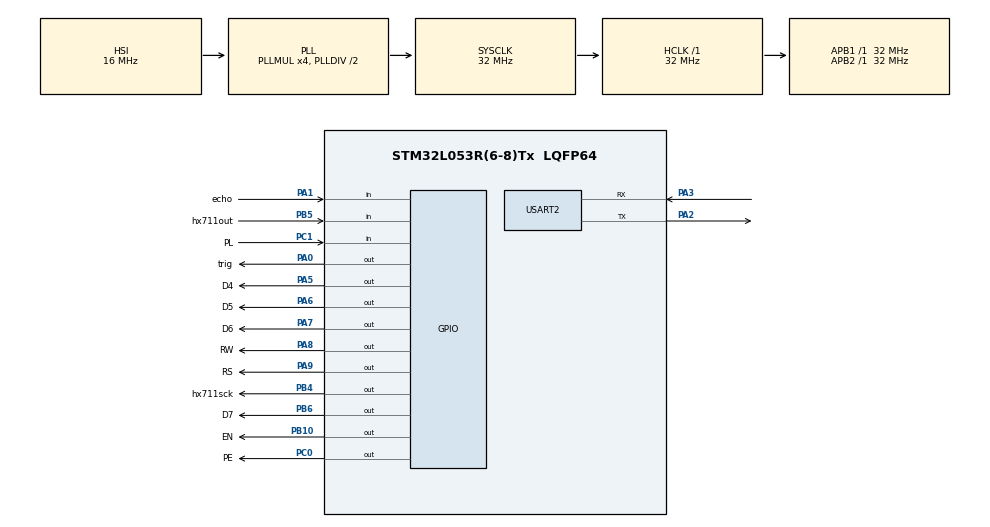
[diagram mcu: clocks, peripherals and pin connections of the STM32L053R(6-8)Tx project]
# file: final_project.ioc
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Mcu.Family=STM32L0
Mcu.Name=STM32L053R(6-8)Tx
Mcu.Package=LQFP64
NVIC.USART2_IRQn=true\:1\:0\:true\:false\:true\:true\:true
PA0.GPIO_Label=trig
PA0.Signal=GPIO_Output
PA1.GPIO_Label=echo
PA1.Signal=GPIO_Input
PA2.Mode=Asynchronous
PA2.Signal=USART2_TX
PA3.Mode=Asynchronous
PA3.Signal=USART2_RX
PA5.GPIO_Label=D4
PA5.Signal=GPIO_Output
PA6.GPIO_Label=D5
PA6.Signal=GPIO_Output
PA7.GPIO_Label=D6
PA7.Signal=GPIO_Output
PA8.GPIO_Label=RW
PA8.Signal=GPIO_Output
PA9.GPIO_Label=RS
PA9.Signal=GPIO_Output
PB10.GPIO_Label=EN
PB10.Signal=GPIO_Output
PB4.GPIO_Label=hx711sck
PB4.Signal=GPIO_Output
PB5.GPIO_Label=hx711out
PB5.Signal=GPIO_Input
PB6.GPIO_Label=D7
PB6.Signal=GPIO_Output
PC0.GPIO_Label=PE
PC0.Signal=GPIO_Output
PC1.GPIO_Label=PL
PC1.Signal=GPIO_Input
ProjectManager.HeapSize=0x200
ProjectManager.StackSize=0x400
ProjectManager.TargetToolchain=MDK-ARM V5
RCC.AHBFreq_Value=32000000
RCC.APB1Freq_Value=32000000
RCC.APB1TimFreq_Value=32000000
RCC.APB2Freq_Value=32000000
RCC.APB2TimFreq_Value=32000000
RCC.HCLKFreq_Value=32000000
RCC.HSE_VALUE=8000000
RCC.HSI16_VALUE=16000000
RCC.HSI48_VALUE=48000000
RCC.HSI_VALUE=16000000
RCC.LSE_VALUE=32768
RCC.MSI_VALUE=2097000
RCC.PLLMUL=RCC_PLLMUL_4
RCC.SYSCLKFreq_VALUE=32000000
RCC.SYSCLKSource=RCC_SYSCLKSOURCE_PLLCLK
RCC.VCOOutputFreq_Value=64000000
TIM2.Prescaler=84-1
USART2.VirtualMode-Asynchronous=VM_ASYNC
VP_TIM2_VS_ClockSourceINT.Mode=Internal
board=custom

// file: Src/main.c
/* USER CODE BEGIN Header */
/**
  ******************************************************************************
  * @file           : main.c
  * @brief          : Main program body
  ******************************************************************************
  * @attention
  *
  * <h2><center>&copy; Copyright (c) 2019 STMicroelectronics.
  * All rights reserved.</center></h2>
  *
  * This software component is licensed by ST under BSD 3-Clause license,
  * the "License"; You may not use this file except in compliance with the
  * License. You may obtain a copy of the License at:
  *                        opensource.org/licenses/BSD-3-Clause
  *
  ******************************************************************************
  */
/* USER CODE END Header */

#include "main.h"

/* USER CODE BEGIN Includes */
#include "stdbool.h"
#include "string.h"
#include "stdio.h"
#include "lcd_1602.h"
#include "hx711.h.h"
/* USER CODE END Includes */

/* USER CODE BEGIN PTD */
#define smalltimer TIM2
/* USER CODE END PTD */

TIM_HandleTypeDef htim2;

UART_HandleTypeDef huart2;

/* USER CODE BEGIN PV */
int i;//for loop

const float speedofsound=0.0343/2;
float distance;

bool GPIO_flag= false;

char uartbuf[50];
uint8_t usart_buffer[20] = "LinXiuWei\r\n";
int average_weigh;
volatile int weigh =0;
volatile int myweigh =0;
/* USER CODE END PV */

void SystemClock_Config(void);
static void MX_GPIO_Init(void);
static void MX_USART2_UART_Init(void);
static void MX_TIM2_Init(void);
/* USER CODE BEGIN PFP */
void smalldelay(unsigned int);
/* USER CODE END PFP */

int main(void)
{
  /* USER CODE BEGIN 1 */
	unsigned int num_t;
	HX711 hx11;
  hx11.gpioSck = hx711sck_GPIO_Port;
  hx11.gpioData = hx711out_GPIO_Port;
  hx11.pinSck = hx711sck_Pin;
  hx11.pinData = hx711out_Pin;
  hx11.offset = 0;
  hx11.gain = 64;
	char weighinformation[20];

  /* USER CODE END 1 */

  /* MCU Configuration--------------------------------------------------------*/

  /* Reset of all peripherals, Initializes the Flash interface and the Systick. */
  HAL_Init();

  /* Configure the system clock */
  SystemClock_Config();

  /* Initialize all configured peripherals */
  MX_GPIO_Init();
  MX_USART2_UART_Init();
  MX_TIM2_Init();
  /* USER CODE BEGIN 2 */
 //Transmit without interrupt
 HAL_UART_Transmit(&huart2 , &usart_buffer[0] , strlen(&usart_buffer[0]) , 100);
 //Receive with interrupt
 HAL_UART_Receive_IT(&huart2 , &usart_buffer[0] , 1);
 ///////////////
 lcd_init();
 HX711_Init(hx11);
  /* USER CODE END 2 */

  /* Infinite loop */
  while (1)
  {

    /* USER CODE BEGIN 3 */
		//HAL_Delay(1000);
		while(HAL_GPIO_ReadPin(PE_GPIO_Port,PE_Pin)!=GPIO_PIN_SET){
		lcd_clr();
		/////////////////hx711
		average_weigh=0;
		for(i=0;i<10;i++){
		weigh = HX711_Value(hx11);
		weigh =((weigh-8470500)/1500);
		average_weigh=average_weigh+weigh;
		}
		average_weigh=average_weigh/10;
		myweigh=average_weigh;
	  //weigh = HX711_AverageValue(hx11, times);

		sprintf(weighinformation,"Weigh is %d\r\n",myweigh);
	  HAL_UART_Transmit(&huart2 ,(unsigned char*)weighinformation, strlen(weighinformation) , 100);
		HAL_Delay(1000);
		}

		///////////////lcd
		lcd_clr();
		lcd_gotoxy(0,0);
		lcd_puts("Let start!!!");
		HAL_Delay(1000);

		while(HAL_GPIO_ReadPin(PL_GPIO_Port,PL_Pin)!=GPIO_PIN_SET){
		HAL_GPIO_WritePin(PE_GPIO_Port, PE_Pin, GPIO_PIN_RESET);
		HAL_GPIO_WritePin(trig_GPIO_Port, trig_Pin, GPIO_PIN_RESET);
		smalldelay(3);
		HAL_GPIO_WritePin(trig_GPIO_Port, trig_Pin, GPIO_PIN_SET);
		smalldelay(10);
		HAL_GPIO_WritePin(trig_GPIO_Port, trig_Pin, GPIO_PIN_RESET);
		/////////////////measure echo pulse width
		num_t=0;
		while(HAL_GPIO_ReadPin(echo_GPIO_Port,echo_Pin)!=GPIO_PIN_SET);
		while(HAL_GPIO_ReadPin(echo_GPIO_Port,echo_Pin)==GPIO_PIN_SET)
		{
			num_t++;
			smalldelay(2);
		}
		//////////////////estimate distance
		distance=(num_t+0.0f)*7.3*speedofsound;
		////////////////////////for serial port
		sprintf(uartbuf,"distance is %.1f\r\n",distance);
		HAL_UART_Transmit(&huart2 ,(unsigned char*)uartbuf, strlen(uartbuf) , 100);

		/////////////////hx711
		average_weigh=0;
		for(i=0;i<10;i++){
		weigh = HX711_Value(hx11);
		weigh =((weigh-8470500)/1500);
		average_weigh=average_weigh+weigh;
		}
		average_weigh=average_weigh/10;

		sprintf(weighinformation,"Weigh is %d\r\n",myweigh);
	  HAL_UART_Transmit(&huart2 ,(unsigned char*)weighinformation, strlen(weighinformation) , 100);

		///////////////////////Pudding control
			if(distance<15 || (weigh-myweigh)>5 || (weigh-myweigh)<-5){
				if((average_weigh-myweigh)>1 || (average_weigh-myweigh)<-1){
					lcd_clr();
					lcd_gotoxy(5,0);
					lcd_puts("---    ---");
					lcd_gotoxy(6,1);
					lcd_puts("0      0");
					lcd_gotoxy(8,2);
					lcd_puts("0000");
					lcd_gotoxy(8,3);
					lcd_puts("0000");
					HAL_GPIO_WritePin(PE_GPIO_Port, PE_Pin, GPIO_PIN_SET);
				}
				else{
					lcd_clr();
					lcd_gotoxy(5,0);
					lcd_puts("---    ---");
					lcd_gotoxy(6,1);
					lcd_puts(">      <");
					lcd_gotoxy(8,2);
					lcd_puts("0000");
					lcd_gotoxy(8,3);
					lcd_puts("0000");
				}
			}
			else{
				lcd_clr();
				lcd_gotoxy(6,1);
				lcd_puts(">      <");
				lcd_gotoxy(9,3);
				lcd_puts("VV");
			}
		HAL_Delay(1000);
		HAL_GPIO_WritePin(PE_GPIO_Port, PE_Pin, GPIO_PIN_RESET);}
		lcd_clr();
		lcd_gotoxy(0,0);
		lcd_puts("It's over!!!");
		HAL_Delay(1000);
		////////////////////////////////////////////////////////////////////helpful code
		/*
		while(HAL_GPIO_ReadPin(PE_GPIO_Port,PE_Pin)!=GPIO_PIN_SET)lcd_clr();
		while(HAL_GPIO_ReadPin(PL_GPIO_Port,PL_Pin)!=GPIO_PIN_SET){
		HAL_GPIO_WritePin(trig_GPIO_Port, trig_Pin, GPIO_PIN_RESET);
		smalldelay(3);
		HAL_GPIO_WritePin(trig_GPIO_Port, trig_Pin, GPIO_PIN_SET);
		smalldelay(10);
		HAL_GPIO_WritePin(trig_GPIO_Port, trig_Pin, GPIO_PIN_RESET);
		/////////////////measure echo pulse width
		num_t=0;
		while(HAL_GPIO_ReadPin(echo_GPIO_Port,echo_Pin)!=GPIO_PIN_SET);
		while(HAL_GPIO_ReadPin(echo_GPIO_Port,echo_Pin)==GPIO_PIN_SET)
		{
			num_t++;
			smalldelay(2);
		}
		//////////////////estimate distance
		distance=(num_t+0.0f)*7.3*speedofsound;
		////////////////////////for serial port
		sprintf(uartbuf,"distance is %.1f\r\n",distance);
		HAL_UART_Transmit(&huart2 ,(unsigned char*)uartbuf, strlen(uartbuf) , 100);
		HAL_Delay(1000);}

		///////////////////////LCD control
			if(distance<10){
				lcd_clr();
				lcd_gotoxy(5,0);
				lcd_puts("---    ---");
				lcd_gotoxy(6,1);
				lcd_puts("0      0");
				lcd_gotoxy(8,2);
				lcd_puts("0000");
				lcd_gotoxy(8,3);
				lcd_puts("0000");
			}
			else{
				lcd_clr();
				lcd_gotoxy(6,1);
				lcd_puts(">      <");
				lcd_gotoxy(9,3);
				lcd_puts("VV");
			}
		HAL_Delay(1000);	}

		///////////////SPEAKER
		HAL_GPIO_WritePin(PE_GPIO_Port, PE_Pin, GPIO_PIN_RESET);
		while(HAL_GPIO_ReadPin(REC_GPIO_Port,REC_Pin)!=GPIO_PIN_SET);
		while(HAL_GPIO_ReadPin(REC_GPIO_Port,REC_Pin)==GPIO_PIN_SET);
		HAL_GPIO_WritePin(PE_GPIO_Port, PE_Pin, GPIO_PIN_SET);
		HAL_Delay(2000);
		HAL_GPIO_WritePin(PE_GPIO_Port, PE_Pin, GPIO_PIN_RESET);

		/////////////////hx711
		while(HAL_GPIO_ReadPin(PE_GPIO_Port,PE_Pin)!=GPIO_PIN_SET)lcd_clr();
		while(HAL_GPIO_ReadPin(PL_GPIO_Port,PL_Pin)!=GPIO_PIN_SET){
		lcd_clr();
		lcd_gotoxy(0,0);
		lcd_puts("Let start!!!");
		average_weigh=0;
		for(i=0;i<10;i++){
		weigh = HX711_Value(hx11);
		weigh =((weigh-8470500)/1000);
		average_weigh=average_weigh+weigh;
		}
		average_weigh=average_weigh/10;
	  //weigh = HX711_AverageValue(hx11,5);

		sprintf(weighinformation,"Weigh is %d\r\n",average_weigh);
	  HAL_UART_Transmit(&huart2 ,(unsigned char*)weighinformation, strlen(weighinformation) , 100);
		HAL_Delay(1000);}*/
		}
  /* USER CODE END 3 */
}

void SystemClock_Config(void)
{
  RCC_OscInitTypeDef RCC_OscInitStruct = {0};
  RCC_ClkInitTypeDef RCC_ClkInitStruct = {0};
  RCC_PeriphCLKInitTypeDef PeriphClkInit = {0};

  /** Configure the main internal regulator output voltage
  */
  __HAL_PWR_VOLTAGESCALING_CONFIG(PWR_REGULATOR_VOLTAGE_SCALE1);
  /** Initializes the CPU, AHB and APB busses clocks
  */
  RCC_OscInitStruct.OscillatorType = RCC_OSCILLATORTYPE_HSI;
  RCC_OscInitStruct.HSIState = RCC_HSI_ON;
  RCC_OscInitStruct.HSICalibrationValue = RCC_HSICALIBRATION_DEFAULT;
  RCC_OscInitStruct.PLL.PLLState = RCC_PLL_ON;
  RCC_OscInitStruct.PLL.PLLSource = RCC_PLLSOURCE_HSI;
  RCC_OscInitStruct.PLL.PLLMUL = RCC_PLLMUL_4;
  RCC_OscInitStruct.PLL.PLLDIV = RCC_PLLDIV_2;
  if (HAL_RCC_OscConfig(&RCC_OscInitStruct) != HAL_OK)
  {
    Error_Handler();
  }
  /** Initializes the CPU, AHB and APB busses clocks
  */
  RCC_ClkInitStruct.ClockType = RCC_CLOCKTYPE_HCLK|RCC_CLOCKTYPE_SYSCLK
                              |RCC_CLOCKTYPE_PCLK1|RCC_CLOCKTYPE_PCLK2;
  RCC_ClkInitStruct.SYSCLKSource = RCC_SYSCLKSOURCE_PLLCLK;
  RCC_ClkInitStruct.AHBCLKDivider = RCC_SYSCLK_DIV1;
  RCC_ClkInitStruct.APB1CLKDivider = RCC_HCLK_DIV1;
  RCC_ClkInitStruct.APB2CLKDivider = RCC_HCLK_DIV1;

  if (HAL_RCC_ClockConfig(&RCC_ClkInitStruct, FLASH_LATENCY_1) != HAL_OK)
  {
    Error_Handler();
  }
  PeriphClkInit.PeriphClockSelection = RCC_PERIPHCLK_USART2;
  PeriphClkInit.Usart2ClockSelection = RCC_USART2CLKSOURCE_PCLK1;
  if (HAL_RCCEx_PeriphCLKConfig(&PeriphClkInit) != HAL_OK)
  {
    Error_Handler();
  }
}

static void MX_TIM2_Init(void)
{

  TIM_ClockConfigTypeDef sClockSourceConfig = {0};
  TIM_MasterConfigTypeDef sMasterConfig = {0};

  htim2.Instance = TIM2;
  htim2.Init.Prescaler = 84-1;
  htim2.Init.CounterMode = TIM_COUNTERMODE_UP;
  htim2.Init.Period = 0;
  htim2.Init.ClockDivision = TIM_CLOCKDIVISION_DIV1;
  htim2.Init.AutoReloadPreload = TIM_AUTORELOAD_PRELOAD_DISABLE;
  if (HAL_TIM_Base_Init(&htim2) != HAL_OK)
  {
    Error_Handler();
  }
  sClockSourceConfig.ClockSource = TIM_CLOCKSOURCE_INTERNAL;
  if (HAL_TIM_ConfigClockSource(&htim2, &sClockSourceConfig) != HAL_OK)
  {
    Error_Handler();
  }
  sMasterConfig.MasterOutputTrigger = TIM_TRGO_RESET;
  sMasterConfig.MasterSlaveMode = TIM_MASTERSLAVEMODE_DISABLE;
  if (HAL_TIMEx_MasterConfigSynchronization(&htim2, &sMasterConfig) != HAL_OK)
  {
    Error_Handler();
  }

}

static void MX_USART2_UART_Init(void)
{

  huart2.Instance = USART2;
  huart2.Init.BaudRate = 115200;
  huart2.Init.WordLength = UART_WORDLENGTH_8B;
  huart2.Init.StopBits = UART_STOPBITS_1;
  huart2.Init.Parity = UART_PARITY_NONE;
  huart2.Init.Mode = UART_MODE_TX_RX;
  huart2.Init.HwFlowCtl = UART_HWCONTROL_NONE;
  huart2.Init.OverSampling = UART_OVERSAMPLING_16;
  huart2.Init.OneBitSampling = UART_ONE_BIT_SAMPLE_DISABLE;
  huart2.AdvancedInit.AdvFeatureInit = UART_ADVFEATURE_NO_INIT;
  if (HAL_UART_Init(&huart2) != HAL_OK)
  {
    Error_Handler();
  }

}

static void MX_GPIO_Init(void)
{
  GPIO_InitTypeDef GPIO_InitStruct = {0};

  /* GPIO Ports Clock Enable */
  __HAL_RCC_GPIOC_CLK_ENABLE();
  __HAL_RCC_GPIOA_CLK_ENABLE();
  __HAL_RCC_GPIOB_CLK_ENABLE();

  /*Configure GPIO pin Output Level */
  HAL_GPIO_WritePin(PE_GPIO_Port, PE_Pin, GPIO_PIN_RESET);

  /*Configure GPIO pin Output Level */
  HAL_GPIO_WritePin(GPIOA, trig_Pin|D4_Pin|D5_Pin|D6_Pin
                          |RW_Pin|RS_Pin, GPIO_PIN_RESET);

  /*Configure GPIO pin Output Level */
  HAL_GPIO_WritePin(GPIOB, EN_Pin|hx711sck_Pin|D7_Pin, GPIO_PIN_RESET);

  /*Configure GPIO pin : PE_Pin */
  GPIO_InitStruct.Pin = PE_Pin;
  GPIO_InitStruct.Mode = GPIO_MODE_OUTPUT_PP;
  GPIO_InitStruct.Pull = GPIO_NOPULL;
  GPIO_InitStruct.Speed = GPIO_SPEED_FREQ_LOW;
  HAL_GPIO_Init(PE_GPIO_Port, &GPIO_InitStruct);

  /*Configure GPIO pin : PL_Pin */
  GPIO_InitStruct.Pin = PL_Pin;
  GPIO_InitStruct.Mode = GPIO_MODE_INPUT;
  GPIO_InitStruct.Pull = GPIO_NOPULL;
  HAL_GPIO_Init(PL_GPIO_Port, &GPIO_InitStruct);

  /*Configure GPIO pins : trig_Pin D4_Pin D5_Pin D6_Pin
                           RW_Pin RS_Pin */
  GPIO_InitStruct.Pin = trig_Pin|D4_Pin|D5_Pin|D6_Pin
                          |RW_Pin|RS_Pin;
  GPIO_InitStruct.Mode = GPIO_MODE_OUTPUT_PP;
  GPIO_InitStruct.Pull = GPIO_NOPULL;
  GPIO_InitStruct.Speed = GPIO_SPEED_FREQ_LOW;
  HAL_GPIO_Init(GPIOA, &GPIO_InitStruct);

  /*Configure GPIO pin : echo_Pin */
  GPIO_InitStruct.Pin = echo_Pin;
  GPIO_InitStruct.Mode = GPIO_MODE_INPUT;
  GPIO_InitStruct.Pull = GPIO_NOPULL;
  HAL_GPIO_Init(echo_GPIO_Port, &GPIO_InitStruct);

  /*Configure GPIO pins : EN_Pin hx711sck_Pin D7_Pin */
  GPIO_InitStruct.Pin = EN_Pin|hx711sck_Pin|D7_Pin;
  GPIO_InitStruct.Mode = GPIO_MODE_OUTPUT_PP;
  GPIO_InitStruct.Pull = GPIO_NOPULL;
  GPIO_InitStruct.Speed = GPIO_SPEED_FREQ_LOW;
  HAL_GPIO_Init(GPIOB, &GPIO_InitStruct);

  /*Configure GPIO pin : hx711out_Pin */
  GPIO_InitStruct.Pin = hx711out_Pin;
  GPIO_InitStruct.Mode = GPIO_MODE_INPUT;
  GPIO_InitStruct.Pull = GPIO_NOPULL;
  HAL_GPIO_Init(hx711out_GPIO_Port, &GPIO_InitStruct);

}

/* USER CODE BEGIN 4 */
void HAL_UART_RxCpltCallback(UART_HandleTypeDef*huart){
if(huart== &huart2){
HAL_UART_Transmit(&huart2 , &usart_buffer[0] , 1 , 100);//1.which hardware do you control 2.first char of string 3.how many information 4.max time for wait
HAL_UART_Receive_IT(&huart2 , &usart_buffer[0] , 1);}}

void smalldelay(unsigned int smallsecond){
	if(smallsecond<2)smallsecond=2;
	smalltimer->ARR=smallsecond-1;
	smalltimer->EGR=1;
	smalltimer->SR &=~1;
	smalltimer->CR1 |=1;
	while((smalltimer->SR&0x0001)!=1);
	smalltimer->SR&=~(0x0001);
}
/* USER CODE END 4 */

void Error_Handler(void)
{
}

/************************ (C) COPYRIGHT STMicroelectronics *****END OF FILE****/
